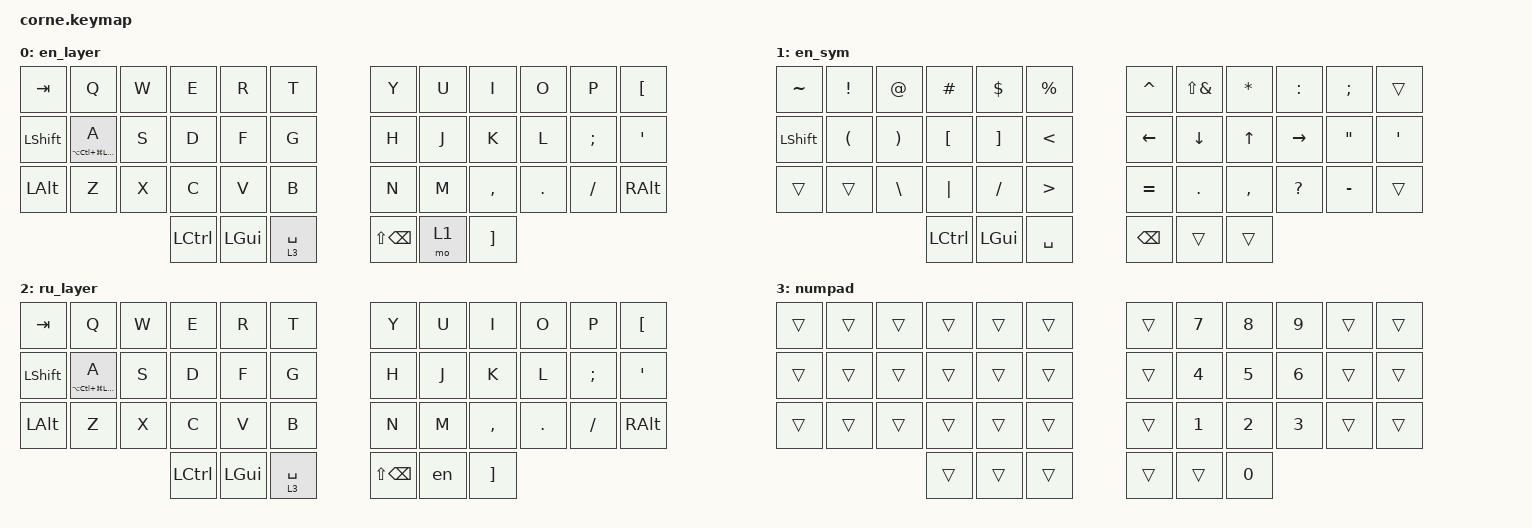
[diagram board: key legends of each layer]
/*
 * Copyright (c) 2020 The ZMK Contributors
 *
 * SPDX-License-Identifier: MIT
 */

#include <behaviors.dtsi>
#include <dt-bindings/zmk/keys.h>

/ {
    combos {
        compatible = "zmk,combos";

        esc {
            bindings = <&kp ESCAPE>;
            key-positions = <14 15 16>;
        };

        enter {
            bindings = <&kp ENTER>;
            key-positions = <19 20 21>;
        };

        ru {
            bindings = <&ru_layer>;
            key-positions = <38 4>;
            layers = <0>;
        };

        en {
            bindings = <&en_layer>;
            key-positions = <38 3>;
            layers = <2>;
        };

        YO {
            bindings = <&kp GRAVE>;
            key-positions = <4 5>;
        };
    };

    macros {
        en_layer: en_layer {
            compatible = "zmk,behavior-macro";
            #binding-cells = <0>;
            bindings = <&kp LA(NUMBER_1) &to 0>;
            label = "EN";
        };

        ru_layer: ru_layer {
            compatible = "zmk,behavior-macro";
            #binding-cells = <0>;
            bindings = <&kp LA(NUMBER_2) &to 2>;
            label = "RU";
        };

        to_en: en {
            compatible = "zmk,behavior-macro";
            #binding-cells = <0>;
            bindings = <&kp LA(NUMBER_1)>;
            label = "EN";
        };

        to_ru: ru {
            compatible = "zmk,behavior-macro";
            #binding-cells = <0>;
            bindings = <&kp LA(NUMBER_2)>;
            label = "RU";
        };

        en: ens {
            compatible = "zmk,behavior-macro";
            #binding-cells = <0>;
            bindings =
                <&to_en &to 1>,
                <&macro_press>,
                <&macro_pause_for_release>,
                <&macro_release>,
                <&macro_tap>,
                <&to_ru &to 2>;

            label = "ENS";
        };
    };

    keymap {
        compatible = "zmk,keymap";

        en_layer {
            // -----------------------------------------------------------------------------------------
            // |  TAB |  Q  |  W  |  E  |  R  |  T  |   |  Y  |  U   |  I  |  O  |  P  | BSPC |
            // | CTRL |  A  |  S  |  D  |  F  |  G  |   |  H  |  J   |  K  |  L  |  ;  |  '   |
            // | SHFT |  Z  |  X  |  C  |  V  |  B  |   |  N  |  M   |  ,  |  .  |  /  | ESC  |
            //                    | GUI | LWR | SPC |   | ENT | RSE  | ALT |

            bindings = <
&kp TAB         &kp Q                         &kp W  &kp E      &kp R         &kp T          &kp Y              &kp U  &kp I              &kp O    &kp P     &kp LEFT_BRACKET
&kp LEFT_SHIFT  &mt LA(LC(LG(LEFT_SHIFT))) A  &kp S  &kp D      &kp F         &kp G          &kp H              &kp J  &kp K              &kp L    &kp SEMI  &kp SQT
&kp LEFT_ALT    &kp Z                         &kp X  &kp C      &kp V         &kp B          &kp N              &kp M  &kp COMMA          &kp DOT  &kp FSLH  &kp RALT
                                                     &kp LCTRL  &kp LEFT_GUI  &lt 3 SPACE    &kp LS(BACKSPACE)  &mo 1  &kp RIGHT_BRACKET
            >;
        };

        en_sym {
            // -----------------------------------------------------------------------------------------
            // |  TAB |  1  |  2  |  3  |  4  |  5  |   |  6  |  7  |  8  |  9  |  0  | BSPC |
            // | BTCLR| BT1 | BT2 | BT3 | BT4 | BT5 |   | LFT | DWN |  UP | RGT |     |      |
            // | SHFT |     |     |     |     |     |   |     |     |     |     |     |      |
            //                    | GUI |     | SPC |   | ENT |     | ALT |

            bindings = <
&kp TILDE       &kp EXCLAMATION       &kp AT_SIGN            &kp HASH          &kp DOLLAR         &kp PERCENT         &kp CARET      &kp LS(AMPERSAND)  &kp ASTERISK  &kp COLON     &kp SEMICOLON      &trans
&kp LEFT_SHIFT  &kp LEFT_PARENTHESIS  &kp RIGHT_PARENTHESIS  &kp LEFT_BRACKET  &kp RIGHT_BRACKET  &kp LESS_THAN       &kp LEFT       &kp DOWN           &kp UP        &kp RIGHT     &kp DOUBLE_QUOTES  &kp SQT
&trans          &trans                &kp BACKSLASH          &kp PIPE          &kp SLASH          &kp GREATER_THAN    &kp EQUAL      &kp DOT            &kp COMMA     &kp QUESTION  &kp MINUS          &trans
                                                             &kp LCTRL         &kp LEFT_GUI       &kp SPACE           &kp BACKSPACE  &trans             &trans
            >;
        };

        ru_layer {
            bindings = <
&kp TAB         &kp Q                         &kp W  &kp E      &kp R         &kp T          &kp Y              &kp U  &kp I              &kp O    &kp P     &kp LEFT_BRACKET
&kp LEFT_SHIFT  &mt LA(LC(LG(LEFT_SHIFT))) A  &kp S  &kp D      &kp F         &kp G          &kp H              &kp J  &kp K              &kp L    &kp SEMI  &kp SQT
&kp LEFT_ALT    &kp Z                         &kp X  &kp C      &kp V         &kp B          &kp N              &kp M  &kp COMMA          &kp DOT  &kp FSLH  &kp RIGHT_ALT
                                                     &kp LCTRL  &kp LEFT_GUI  &lt 3 SPACE    &kp LS(BACKSPACE)  &en    &kp RIGHT_BRACKET
            >;
        };

        numpad {
            bindings = <
&trans  &trans  &trans  &trans  &trans  &trans    &trans  &kp N7        &kp N8        &kp N9        &trans  &trans
&trans  &trans  &trans  &trans  &trans  &trans    &trans  &kp NUMBER_4  &kp N5        &kp NUMBER_6  &trans  &trans
&trans  &trans  &trans  &trans  &trans  &trans    &trans  &kp NUMBER_1  &kp NUMBER_2  &kp NUMBER_3  &trans  &trans
                        &trans  &trans  &trans    &trans  &trans        &kp N0
            >;
        };
    };
};
